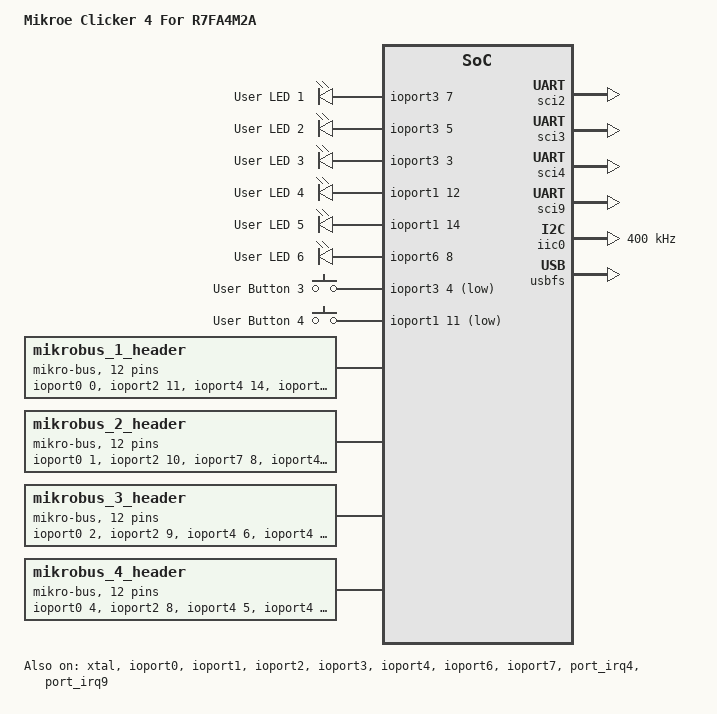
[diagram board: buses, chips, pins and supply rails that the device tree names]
/*
 * Copyright (c) 2026 Ian Morris
 *
 * SPDX-License-Identifier: Apache-2.0
 */

/dts-v1/;
#include <renesas/ra/ra4/r7fa4m2ad3cfp.dtsi>
#include <zephyr/dt-bindings/gpio/gpio.h>
#include <zephyr/dt-bindings/input/input-event-codes.h>

#include "mikroe_clicker_4_for_r7fa4m2a-pinctrl.dtsi"

/ {
	model = "Mikroe Clicker 4 For R7FA4M2A";
	compatible = "renesas,ra4m2", "renesas,ra";

	chosen {
		zephyr,console = &cdc_acm_uart0;
		zephyr,shell-uart = &cdc_acm_uart0;
		zephyr,sram = &sram0;
		zephyr,flash = &flash0;
	};

	leds {
		compatible = "gpio-leds";

		ld1: led_1 {
			gpios = <&ioport3 7 GPIO_ACTIVE_HIGH>;
			label = "User LED 1";
		};

		ld2: led_2 {
			gpios = <&ioport3 5 GPIO_ACTIVE_HIGH>;
			label = "User LED 2";
		};

		ld3: led_3 {
			gpios = <&ioport3 3 GPIO_ACTIVE_HIGH>;
			label = "User LED 3";
		};

		ld4: led_4 {
			gpios = <&ioport1 12 GPIO_ACTIVE_HIGH>;
			label = "User LED 4";
		};

		ld5: led_5 {
			gpios = <&ioport1 14 GPIO_ACTIVE_HIGH>;
			label = "User LED 5";
		};

		ld6: led_6 {
			gpios = <&ioport6 8 GPIO_ACTIVE_HIGH>;
			label = "User LED 6";
		};
	};

	buttons {
		compatible = "gpio-keys";

		btn3: button_3 {
			gpios = <&ioport3 4 (GPIO_PULL_UP | GPIO_ACTIVE_LOW)>;
			label = "User Button 3";
			zephyr,code = <INPUT_KEY_2>;
		};

		btn4: button_4 {
			gpios = <&ioport1 11 (GPIO_PULL_UP | GPIO_ACTIVE_LOW)>;
			label = "User Button 4";
			zephyr,code = <INPUT_KEY_3>;
		};
	};

	mikrobus_1_header: mikrobus-connector-1 {
		compatible = "mikro-bus";
		#gpio-cells = <2>;
		gpio-map-mask = <0xffffffff 0xffffffc0>;
		gpio-map-pass-thru = <0 0x3f>;
		gpio-map = <0 0 &ioport0 0 0>,	/* AN   */
			   <1 0 &ioport2 11 0>,	/* RST  */
			   <2 0 &ioport4 14 0>,	/* CS   */
			   <3 0 &ioport4 12 0>,	/* SCK  */
			   <4 0 &ioport4 10 0>,	/* MISO */
			   <5 0 &ioport4 11 0>,	/* MOSI */
			   /* +3.3V */
			   /* GND */
			   <6 0 &ioport2 5 0>,	/* PWM  */
			   <7 0 &ioport4 4 0>,	/* INT  */
			   <8 0 &ioport4 8 0>,	/* RX   */
			   <9 0 &ioport4 9 0>,	/* TX   */
			   <10 0 &ioport4 0 0>,	/* SCL  */
			   <11 0 &ioport4 1 0>;	/* SDA  */
		/* +5V */
		/* GND */
	};

	mikrobus_2_header: mikrobus-connector-2 {
		compatible = "mikro-bus";
		#gpio-cells = <2>;
		gpio-map-mask = <0xffffffff 0xffffffc0>;
		gpio-map-pass-thru = <0 0x3f>;
		gpio-map = <0 0 &ioport0 1 0>,	/* AN   */
			   <1 0 &ioport2 10 0>,	/* RST  */
			   <2 0 &ioport7 8 0>,	/* CS   */
			   <3 0 &ioport4 12 0>,	/* SCK  */
			   <4 0 &ioport4 10 0>,	/* MISO */
			   <5 0 &ioport4 11 0>,	/* MOSI */
			   /* +3.3V */
			   /* GND */
			   <6 0 &ioport2 14 0>,	/* PWM  */
			   <7 0 &ioport4 15 0>,	/* INT  */
			   <8 0 &ioport2 6 0>,	/* RX   */
			   <9 0 &ioport2 7 0>,	/* TX   */
			   <10 0 &ioport4 0 0>,	/* SCL  */
			   <11 0 &ioport4 1 0>;	/* SDA  */
		/* +5V */
		/* GND */
	};

	mikrobus_3_header: mikrobus-connector-3 {
		compatible = "mikro-bus";
		#gpio-cells = <2>;
		gpio-map-mask = <0xffffffff 0xffffffc0>;
		gpio-map-pass-thru = <0 0x3f>;
		gpio-map = <0 0 &ioport0 2 0>,	/* AN   */
			   <1 0 &ioport2 9 0>,	/* RST  */
			   <2 0 &ioport4 6 0>,	/* CS   */
			   <3 0 &ioport4 12 0>,	/* SCK  */
			   <4 0 &ioport4 10 0>,	/* MISO */
			   <5 0 &ioport4 11 0>,	/* MOSI */
			   /* +3.3V */
			   /* GND */
			   <6 0 &ioport6 10 0>,	/* PWM  */
			   <7 0 &ioport0 6 0>,	/* INT  */
			   <8 0 &ioport3 1 0>,	/* RX   */
			   <9 0 &ioport3 2 0>,	/* TX   */
			   <10 0 &ioport4 0 0>,	/* SCL  */
			   <11 0 &ioport4 1 0>;	/* SDA  */
		/* +5V */
		/* GND */
	};

	mikrobus_4_header: mikrobus-connector-4 {
		compatible = "mikro-bus";
		#gpio-cells = <2>;
		gpio-map-mask = <0xffffffff 0xffffffc0>;
		gpio-map-pass-thru = <0 0x3f>;
		gpio-map = <0 0 &ioport0 4 0>,	/* AN   */
			   <1 0 &ioport2 8 0>,	/* RST  */
			   <2 0 &ioport4 5 0>,	/* CS   */
			   <3 0 &ioport4 12 0>,	/* SCK  */
			   <4 0 &ioport4 10 0>,	/* MISO */
			   <5 0 &ioport4 11 0>,	/* MOSI */
			   /* +3.3V */
			   /* GND */
			   <6 0 &ioport1 5 0>,	/* PWM  */
			   <7 0 &ioport1 1 0>,	/* INT  */
			   <8 0 &ioport6 1 0>,	/* RX   */
			   <9 0 &ioport6 2 0>,	/* TX   */
			   <10 0 &ioport4 0 0>,	/* SCL  */
			   <11 0 &ioport4 1 0>;	/* SDA  */
		/* +5V */
		/* GND */
	};

	aliases {
		led0 = &ld1;
		led1 = &ld2;
		sw0 = &btn3;
		sw1 = &btn4;
	};
};

&xtal {
	clock-frequency = <DT_FREQ_M(24)>;
	mosel = <0>;
	#clock-cells = <0>;
	status = "okay";
};

&subclk {
	status = "okay";
};

&pll {
	clocks = <&xtal>;
	div = <3>;
	mul = <25 0>;
	status = "okay";
};

&pll2 {
	clocks = <&xtal>;
	div = <2>;
	mul = <20 0>;
	status = "okay";
};

&uclk {
	clocks = <&pll2>;
	div = <5>;
	status = "okay";
};

&sci2 {
	status = "okay";
	pinctrl-0 = <&sci2_default>;
	pinctrl-names = "default";

	uart2: uart {
		current-speed = <115200>;
		status = "okay";
	};
};

&sci3 {
	status = "okay";
	pinctrl-0 = <&sci3_default>;
	pinctrl-names = "default";

	uart3: uart {
		current-speed = <115200>;
		status = "okay";
	};
};

&sci4 {
	status = "okay";
	pinctrl-0 = <&sci4_default>;
	pinctrl-names = "default";

	uart4: uart {
		current-speed = <115200>;
		status = "okay";
	};
};

&sci9 {
	status = "okay";
	pinctrl-0 = <&sci9_default>;
	pinctrl-names = "default";

	uart9: uart {
		current-speed = <115200>;
		status = "okay";
	};
};

&iic0 {
	pinctrl-0 = <&iic0_default>;
	pinctrl-names = "default";
	#address-cells = <1>;
	#size-cells = <0>;
	clock-frequency = <I2C_BITRATE_FAST>;
	interrupts = <87 1>, <88 1>, <89 1>, <90 1>;
	interrupt-names = "rxi", "txi", "tei", "eri";
	status = "okay";
};

// &sci0 {
// 	status = "okay";
// 	pinctrl-0 = <&sci0_default>;
// 	pinctrl-names = "default";

// 	spi0: spi {
// 		#address-cells = <1>;
// 		#size-cells = <0>;
// 		channel = <0>;
// 		clock-frequency = <DT_FREQ_M(1)>;
// 		cs-gpios = <&ioport4 14 GPIO_ACTIVE_LOW>,
// 			   <&ioport7 8 GPIO_ACTIVE_LOW>,
// 			   <&ioport4 6 GPIO_ACTIVE_LOW>,
// 			   <&ioport4 5 GPIO_ACTIVE_LOW>;
// 		status = "okay";
// 	};
// };

&usbfs {
	pinctrl-0 = <&usbfs_default>;
	pinctrl-names = "default";
	maximum-speed = "full-speed";
	status = "okay";

	zephyr_udc0: udc {
		status = "okay";
		cdc_acm_uart0: cdc_acm_uart0 {
			compatible = "zephyr,cdc-acm-uart";
		};
	};
};

&ioport0 {
	status = "okay";
};

&ioport1 {
	status = "okay";
};

&ioport2 {
	status = "okay";
};

&ioport3 {
	status = "okay";
};

&ioport4 {
	status = "okay";
};

&ioport6 {
	status = "okay";
};

&ioport7 {
	status = "okay";
};

&port_irq4 {
	interrupts = <39 12>;
	status = "okay";
};

&port_irq9 {
	interrupts = <40 12>;
	status = "okay";
};

mikrobus_1_uart: &uart3 {};

mikrobus_1_i2c: &iic0 {};

//mikrobus_1_spi: &spi0 {};

mikrobus_2_uart: &uart4 {};

mikrobus_2_i2c: &iic0 {};

//mikrobus_2_spi: &spi0 {};

mikrobus_3_uart: &uart2 {};

mikrobus_3_i2c: &iic0 {};

//mikrobus_3_spi: &spi0 {};

mikrobus_4_uart: &uart9 {};

mikrobus_4_i2c: &iic0 {};

//mikrobus_4_spi: &spi0 {};

mikrobus_header_1: &mikrobus_1_header {};

mikrobus_header_2: &mikrobus_2_header {};

mikrobus_header_3: &mikrobus_3_header {};

mikrobus_header_4: &mikrobus_4_header {};

mikrobus_uart: &mikrobus_1_uart {};

mikrobus_i2c: &mikrobus_1_i2c {};

//mikrobus_spi: &mikrobus_1_spi {};

mikrobus_header: &mikrobus_1_header {};
